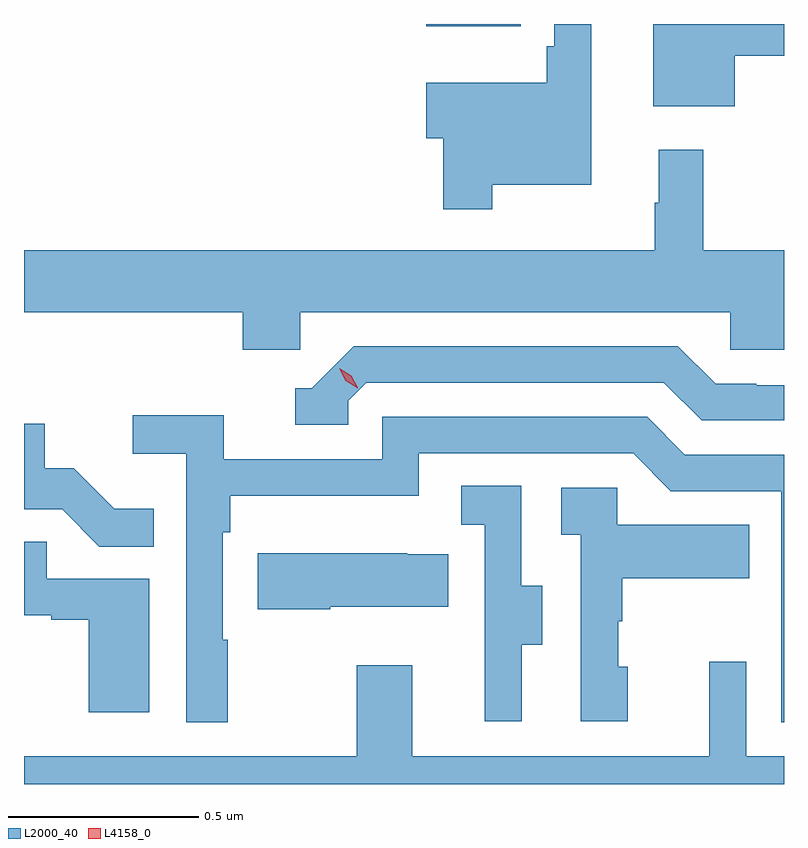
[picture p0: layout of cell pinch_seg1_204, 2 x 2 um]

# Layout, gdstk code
import gdstk
lib = gdstk.Library(unit=1e-6, precision=1e-09)
def R(c, l, rs):  # rectangles x0, y0, x1, y1
    for r in rs: c.add(gdstk.rectangle(r[:2], r[2:], *l))
def P(c, l, *ps):  # polygons
    for p in ps: c.add(gdstk.Polygon(p, *l))
L2000_40 = (2000, 40)
L4158_0 = (4158, 0)

pinch_seg1_204 = lib.new_cell('pinch_seg1_204')
R(pinch_seg1_204, L2000_40, [(994.07,579.125,994.318,579.131)])
P(pinch_seg1_204, L2000_40, [(994.882,579.047),(995.011,579.047),(995.011,579.131),(994.667,579.131),(994.667,578.915),(994.882,578.915)],
  [(994.243,578.708),(994.504,578.708),(994.504,579.131),(994.407,579.131),(994.407,579.073),(994.387,579.073),(994.387,578.977),(994.07,578.977),(994.07,578.83),(994.114,578.83),(994.114,578.643),(994.243,578.643)],
  [(993.738,578.372),(994.869,578.372),(994.869,578.274),(995.011,578.274),(995.011,578.536),(994.799,578.536),(994.799,578.8),(994.682,578.8),(994.682,578.66),(994.671,578.66),(994.671,578.536),(993.011,578.536),(993.011,578.372),(993.587,578.372),(993.587,578.274),(993.738,578.274)],
  [(993.864,578.139),(993.912,578.187),(994.695,578.187),(994.794,578.088),(995.011,578.088),(995.011,578.181),(994.938,578.181),(994.938,578.184),(994.831,578.184),(994.732,578.283),(993.879,578.283),(993.768,578.172),(993.725,578.172),(993.725,578.076),(993.864,578.076)],
  [(993.547,577.511),(993.534,577.511),(993.534,577.793),(993.554,577.793),(993.554,577.889),(994.05,577.889),(994.05,578.001),(994.614,578.001),(994.713,577.902),(995.004,577.902),(995.004,577.293),(995.011,577.293),(995.011,577.998),(994.75,577.998),(994.651,578.097),(993.954,578.097),(993.954,577.986),(993.536,577.986),(993.536,578.102),(993.297,578.102),(993.297,578),(993.438,578),(993.438,577.293),(993.547,577.293)],
  [(993.353,577.855),(993.249,577.855),(993.142,577.962),(993.066,577.962),(993.066,578.079),(993.011,578.079),(993.011,577.854),(993.111,577.854),(993.209,577.756),(993.353,577.756)],
  [(994.321,577.498),(994.375,577.498),(994.375,577.653),(994.32,577.653),(994.32,577.916),(994.161,577.916),(994.161,577.813),(994.224,577.813),(994.224,577.509),(994.223,577.509),(994.223,577.296),(994.321,577.296)],
  [(994.6,577.44),(994.575,577.44),(994.575,577.559),(994.585,577.559),(994.585,577.673),(994.919,577.673),(994.919,577.813),(994.572,577.813),(994.572,577.911),(994.425,577.911),(994.425,577.787),(994.476,577.787),(994.476,577.296),(994.6,577.296)],
  [(993.34,577.671),(993.071,577.671),(993.071,577.769),(993.011,577.769),(993.011,577.575),(993.083,577.575),(993.083,577.563),(993.182,577.563),(993.182,577.32),(993.34,577.32)],
  [(993.817,577.598),(994.127,577.598),(994.127,577.735),(994.019,577.735),(994.019,577.738),(993.626,577.738),(993.626,577.591),(993.817,577.591)],
  [(995.011,577.204),(994.911,577.204),(994.911,577.453),(994.814,577.453),(994.814,577.204),(994.033,577.204),(994.033,577.444),(993.886,577.444),(993.886,577.204),(993.011,577.204),(993.011,577.131),(995.011,577.131)])
P(pinch_seg1_204, L4158_0, [(993.889,578.173),(993.858,578.192),(993.841,578.225),(993.841,578.225),(993.841,578.225),(993.872,578.206),(993.889,578.174),(993.889,578.173)])

lib.write_gds('pinch_seg1_204.gds')
